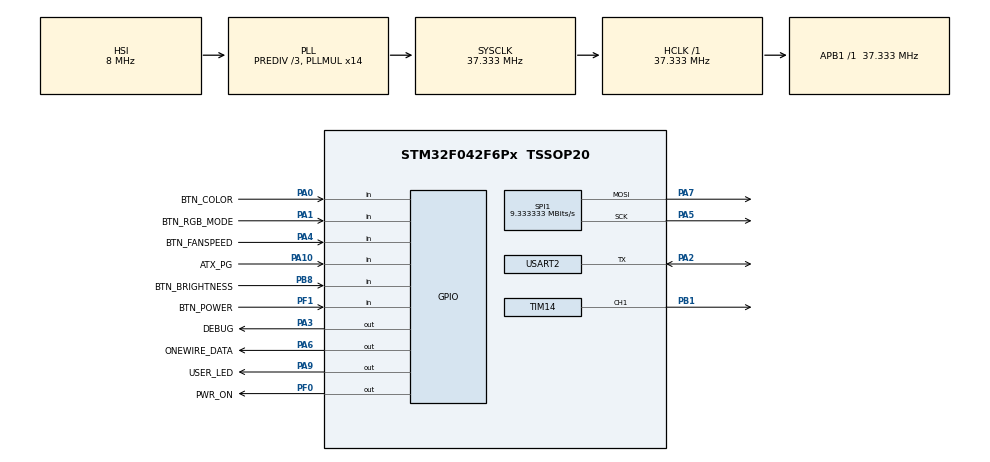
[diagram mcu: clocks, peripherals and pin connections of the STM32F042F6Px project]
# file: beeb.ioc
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IWDG.Prescaler=IWDG_PRESCALER_8
Mcu.Family=STM32F0
Mcu.Name=STM32F042F6Px
Mcu.Package=TSSOP20
NVIC.TIM17_IRQn=true\:0\:0\:false\:true\:true\:1\:true\:true
PA0.GPIO_Label=BTN_COLOR
PA0.GPIO_PuPd=GPIO_PULLUP
PA0.Signal=GPIO_Input
PA1.GPIO_Label=BTN_RGB_MODE
PA1.GPIO_PuPd=GPIO_PULLUP
PA1.Signal=GPIO_Input
PA10.GPIO_Label=ATX_PG
PA10.GPIO_PuPd=GPIO_PULLDOWN
PA10.Signal=GPIO_Input
PA13.Mode=Serial_Wire
PA13.Signal=SYS_SWDIO
PA14.Mode=Serial_Wire
PA14.Signal=SYS_SWCLK
PA2.Mode=Half_duplex(single_wire_mode)
PA2.Signal=USART2_TX
PA3.GPIO_Label=DEBUG
PA3.GPIO_ModeDefaultOutputPP=GPIO_MODE_OUTPUT_OD
PA3.GPIO_PuPd=GPIO_PULLUP
PA3.PinState=GPIO_PIN_SET
PA3.Signal=GPIO_Output
PA4.GPIO_Label=BTN_FANSPEED
PA4.GPIO_PuPd=GPIO_PULLUP
PA4.Signal=GPIO_Input
PA5.Mode=TX_Only_Simplex_Unidirect_Master
PA5.Signal=SPI1_SCK
PA6.GPIO_Label=ONEWIRE_DATA
PA6.GPIO_ModeDefaultOutputPP=GPIO_MODE_OUTPUT_OD
PA6.GPIO_PuPd=GPIO_PULLUP
PA6.PinState=GPIO_PIN_SET
PA6.Signal=GPIO_Output
PA7.Mode=TX_Only_Simplex_Unidirect_Master
PA7.Signal=SPI1_MOSI
PA9.GPIO_Label=USER_LED
PA9.Signal=GPIO_Output
PB1.GPIO_ModeDefaultPP=GPIO_MODE_AF_OD
PB1.GPIO_PuPd=GPIO_NOPULL
PB1.Signal=S_TIM14_CH1
PB8.GPIO_Label=BTN_BRIGHTNESS
PB8.GPIO_PuPd=GPIO_PULLDOWN
PB8.Signal=GPIO_Input
PF0-OSC_IN.GPIO_Label=PWR_ON
PF0-OSC_IN.GPIO_ModeDefaultOutputPP=GPIO_MODE_OUTPUT_OD
PF0-OSC_IN.PinState=GPIO_PIN_SET
PF0-OSC_IN.Signal=GPIO_Output
PF1-OSC_OUT.GPIO_Label=BTN_POWER
PF1-OSC_OUT.GPIO_PuPd=GPIO_PULLUP
PF1-OSC_OUT.Signal=GPIO_Input
ProjectManager.HeapSize=0x200
ProjectManager.StackSize=0x400
ProjectManager.TargetToolchain=MDK-ARM V5
RCC.AHBFreq_Value=37333333.33333333
RCC.APB1Freq_Value=37333333.33333333
RCC.APB1TimFreq_Value=37333333.33333333
RCC.HCLKFreq_Value=37333333.33333333
RCC.PLLDivider=RCC_PREDIV_DIV3
RCC.PLLMUL=RCC_PLL_MUL14
RCC.SYSCLKFreq_VALUE=37333333.33333333
RCC.SYSCLKSource=RCC_SYSCLKSOURCE_PLLCLK
SH.S_TIM14_CH1.0=TIM14_CH1,PWM Generation1 CH1
SPI1.BaudRatePrescaler=SPI_BAUDRATEPRESCALER_4
SPI1.CalculateBaudRate=9.333333 MBits/s
SPI1.DataSize=SPI_DATASIZE_8BIT
SPI1.Direction=SPI_DIRECTION_2LINES
SPI1.Mode=SPI_MODE_MASTER
SPI1.VirtualType=VM_MASTER
TIM14.Channel=TIM_CHANNEL_1
TIM14.Period=500
TIM14.Prescaler=2
TIM14.Pulse=250
TIM17.Period=16666
TIM17.Prescaler=37
TIM2.Period=4294967295
TIM2.Prescaler=36
USART2.BaudRate=115200
USART2.Mode=MODE_TX_RX
USART2.VirtualMode-Half_duplex(single_wire_mode)=VM_ASYNC
VP_IWDG_VS_IWDG.Mode=IWDG_Activate
VP_TIM14_VS_ClockSourceINT.Mode=Enable_Timer
VP_TIM17_VS_ClockSourceINT.Mode=Enable_Timer
VP_TIM2_VS_ClockSourceINT.Mode=Internal
board=custom

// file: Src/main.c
/**
  ******************************************************************************
  * @file           : main.c
  * @brief          : Main program body
  ******************************************************************************
  ** This notice applies to any and all portions of this file
  * that are not between comment pairs USER CODE BEGIN and
  * USER CODE END. Other portions of this file, whether
  * inserted by the user or by software development tools
  * are owned by their respective copyright owners.
  *
  * COPYRIGHT(c) 2022 STMicroelectronics
  *
  * Redistribution and use in source and binary forms, with or without modification,
  * are permitted provided that the following conditions are met:
  *   1. Redistributions of source code must retain the above copyright notice,
  *      this list of conditions and the following disclaimer.
  *   2. Redistributions in binary form must reproduce the above copyright notice,
  *      this list of conditions and the following disclaimer in the documentation
  *      and/or other materials provided with the distribution.
  *   3. Neither the name of STMicroelectronics nor the names of its contributors
  *      may be used to endorse or promote products derived from this software
  *      without specific prior written permission.
  *
  * THIS SOFTWARE IS PROVIDED BY THE COPYRIGHT HOLDERS AND CONTRIBUTORS "AS IS"
  * AND ANY EXPRESS OR IMPLIED WARRANTIES, INCLUDING, BUT NOT LIMITED TO, THE
  * IMPLIED WARRANTIES OF MERCHANTABILITY AND FITNESS FOR A PARTICULAR PURPOSE ARE
  * DISCLAIMED. IN NO EVENT SHALL THE COPYRIGHT HOLDER OR CONTRIBUTORS BE LIABLE
  * FOR ANY DIRECT, INDIRECT, INCIDENTAL, SPECIAL, EXEMPLARY, OR CONSEQUENTIAL
  * DAMAGES (INCLUDING, BUT NOT LIMITED TO, PROCUREMENT OF SUBSTITUTE GOODS OR
  * SERVICES; LOSS OF USE, DATA, OR PROFITS; OR BUSINESS INTERRUPTION) HOWEVER
  * CAUSED AND ON ANY THEORY OF LIABILITY, WHETHER IN CONTRACT, STRICT LIABILITY,
  * OR TORT (INCLUDING NEGLIGENCE OR OTHERWISE) ARISING IN ANY WAY OUT OF THE USE
  * OF THIS SOFTWARE, EVEN IF ADVISED OF THE POSSIBILITY OF SUCH DAMAGE.
  *
  ******************************************************************************
  */
#include "main.h"
#include "stm32f0xx_hal.h"

/* USER CODE BEGIN Includes */
#include "neopixel.h"
#include "buttons.h"
#include <string.h>
#include "ee.h"
#include "animations.h"
#include <math.h>
#include "delay_us.h"
#include "my_1wire.h"
#include "ds18b20.h"

/* USER CODE END Includes */

IWDG_HandleTypeDef hiwdg;

SPI_HandleTypeDef hspi1;

TIM_HandleTypeDef htim2;
TIM_HandleTypeDef htim14;
TIM_HandleTypeDef htim17;

UART_HandleTypeDef huart2;

/* USER CODE BEGIN PV */
/* Private variables ---------------------------------------------------------*/

#define EEPROM_BUF_SIZE 8
uint8_t eeprom_buf[EEPROM_BUF_SIZE];

const char boot_message[] = "ATX4VC\ndekuNukem 2022";
const uint8_t version_major = 0;
const uint8_t version_minor = 0;
const uint8_t version_patch = 1;
uint8_t is_psu_on;
volatile uint32_t frame_interrupt_count;
uint8_t red_buf[NEOPIXEL_COUNT];
uint8_t green_buf[NEOPIXEL_COUNT];
uint8_t blue_buf[NEOPIXEL_COUNT];

hsvcolor global_hsv;
rgbcolor my_rgb;

uint8_t is_fan_auto_mode;

/* USER CODE END PV */

void SystemClock_Config(void);
static void MX_GPIO_Init(void);
static void MX_USART2_UART_Init(void);
static void MX_SPI1_Init(void);
static void MX_TIM17_Init(void);
static void MX_TIM14_Init(void);
static void MX_IWDG_Init(void);
static void MX_TIM2_Init(void);
static void MX_NVIC_Init(void);

void HAL_TIM_MspPostInit(TIM_HandleTypeDef *htim);

/* USER CODE BEGIN PFP */
/* Private function prototypes -----------------------------------------------*/

/* USER CODE END PFP */

/* USER CODE BEGIN 0 */

int fputc(int ch, FILE *f)
{
  HAL_UART_Transmit(&huart2, (unsigned char *)&ch, 1, 100);
  return ch;
}

int16_t ds18b20_result;

#define LED_BRIGHTNESS_STEP_COUNT 9
#define BREATHING_FRAME_COUNT 300
#define SIN_LOOKUP_SIZE 360
#define STARTUP_FADEIN_DURATION_FRAMES 60

const uint8_t sin_lookup[SIN_LOOKUP_SIZE] = {127, 129, 131, 134, 136, 138, 140, 142, 145, 147, 149, 151, 153, 156, 158, 160, 162, 164, 166, 168, 170, 173, 175, 177, 179, 181, 183, 185, 187, 189, 190, 192, 194, 196, 198, 200, 202, 203, 205, 207, 209, 210, 212, 214, 215, 217, 218, 220, 221, 223, 224, 226, 227, 228, 230, 231, 232, 234, 235, 236, 237, 238, 239, 240, 241, 242, 243, 244, 245, 246, 246, 247, 248, 248, 249, 250, 250, 251, 251, 252, 252, 252, 253, 253, 253, 254, 254, 254, 254, 254, 254, 254, 254, 254, 254, 254, 253, 253, 253, 252, 252, 252, 251, 251, 250, 250, 249, 248, 248, 247, 246, 246, 245, 244, 243, 242, 241, 240, 239, 238, 237, 236, 235, 234, 232, 231, 230, 228, 227, 226, 224, 223, 221, 220, 218, 217, 215, 214, 212, 210, 209, 207, 205, 203, 202, 200, 198, 196, 194, 192, 190, 189, 187, 185, 183, 181, 179, 177, 175, 173, 170, 168, 166, 164, 162, 160, 158, 156, 153, 151, 149, 147, 145, 142, 140, 138, 136, 134, 131, 129, 127, 125, 123, 120, 118, 116, 114, 112, 109, 107, 105, 103, 101, 98, 96, 94, 92, 90, 88, 86, 84, 81, 79, 77, 75, 73, 71, 69, 67, 65, 63, 62, 60, 58, 56, 54, 52, 51, 49, 47, 45, 44, 42, 40, 39, 37, 36, 34, 33, 31, 30, 28, 27, 26, 24, 23, 22, 20, 19, 18, 17, 16, 15, 14, 13, 12, 11, 10, 9, 8, 8, 7, 6, 6, 5, 4, 4, 3, 3, 2, 2, 2, 1, 1, 1, 0, 0, 0, 0, 0, 0, 0, 0, 0, 0, 0, 1, 1, 1, 2, 2, 2, 3, 3, 4, 4, 5, 6, 6, 7, 8, 8, 9, 10, 11, 12, 13, 14, 15, 16, 17, 18, 19, 20, 22, 23, 24, 26, 27, 28, 30, 31, 33, 34, 36, 37, 39, 40, 42, 44, 45, 47, 49, 51, 52, 54, 56, 58, 60, 62, 63, 65, 67, 69, 71, 73, 75, 77, 79, 81, 84, 86, 88, 90, 92, 94, 96, 98, 101, 103, 105, 107, 109, 112, 114, 116, 118, 120, 123, 125};

void animation_update(void)
{
  uint8_t current_animation = eeprom_buf[BUTTON_RGB_MODE] % ANIMATION_TYPE_COUNT;
  static double current_startup_percent = 0;
  static hsvcolor temp_global_hsv;
  temp_global_hsv.h = global_hsv.h;
  temp_global_hsv.s = global_hsv.s;
  if(frame_interrupt_count > STARTUP_FADEIN_DURATION_FRAMES)
  {
    temp_global_hsv.v = global_hsv.v;
  }
  else if(frame_interrupt_count <= 5)
  {
    temp_global_hsv.v = 0;
  }
  else
  {
    current_startup_percent = (double)frame_interrupt_count / STARTUP_FADEIN_DURATION_FRAMES;
    temp_global_hsv.v = (double)global_hsv.v * current_startup_percent;
  }

  if(current_animation == ANIMATION_SOLID_COLOR)
  {
    my_rgb = hsv2rgb(temp_global_hsv);
    memset(red_buf, my_rgb.r, NEOPIXEL_COUNT);
    memset(green_buf, my_rgb.g, NEOPIXEL_COUNT);
    memset(blue_buf, my_rgb.b, NEOPIXEL_COUNT);
  }
  else if(current_animation == ANIMATION_FLOWING_RAINBOW)
  {
    for (int i = 0; i < NEOPIXEL_COUNT; ++i)
    {
      hsvcolor this_hsv;
      this_hsv.h = i*12 + frame_interrupt_count;
      this_hsv.s = 255;
      this_hsv.v = temp_global_hsv.v;
      my_rgb = hsv2rgb(this_hsv);
      red_buf[i] = my_rgb.r;
      green_buf[i] = my_rgb.g;
      blue_buf[i] = my_rgb.b;
    }
  }
  else if(current_animation == ANIMATION_ROLLING_CROSSFADE)
  {
    uint8_t current_brightness = eeprom_buf[BUTTON_BRIGHTNESS] % LED_BRIGHTNESS_STEP_COUNT;
    for (int i = 0; i < NEOPIXEL_COUNT; ++i)
    {
      hsvcolor this_hsv;
      this_hsv.h = frame_interrupt_count/2;
      this_hsv.s = 255;
      if(current_brightness == 0 || temp_global_hsv.v == 0)
      {
        this_hsv.v = 0;
      }
      else
      {
        this_hsv.v = sin_lookup[((frame_interrupt_count*3/2 + i*10)) % SIN_LOOKUP_SIZE];
        this_hsv.v = (uint32_t)this_hsv.v * current_brightness / 8;
        if(frame_interrupt_count <= STARTUP_FADEIN_DURATION_FRAMES)
          this_hsv.v = (double)this_hsv.v * current_startup_percent;
      }
      my_rgb = hsv2rgb(this_hsv);
      red_buf[i] = my_rgb.r;
      green_buf[i] = my_rgb.g;
      blue_buf[i] = my_rgb.b;
    }
  }
  else if(current_animation == ANIMATION_CROSSFADE)
  {
    for (int i = 0; i < NEOPIXEL_COUNT; ++i)
    {
      hsvcolor this_hsv;
      this_hsv.h = frame_interrupt_count*2/5;
      this_hsv.s = 255;
      this_hsv.v = temp_global_hsv.v;
      my_rgb = hsv2rgb(this_hsv);
      red_buf[i] = my_rgb.r;
      green_buf[i] = my_rgb.g;
      blue_buf[i] = my_rgb.b;
    }
  }
  else if(current_animation == ANIMATION_ROLLING_DIM)
  {
    uint8_t current_brightness = eeprom_buf[BUTTON_BRIGHTNESS] % LED_BRIGHTNESS_STEP_COUNT;
    for (int i = 0; i < NEOPIXEL_COUNT; ++i)
    {
      hsvcolor this_hsv;
      this_hsv.h = temp_global_hsv.h;
      this_hsv.s = temp_global_hsv.s;
      if(current_brightness == 0 || temp_global_hsv.v == 0)
        this_hsv.v = 0;
      else
      {
        this_hsv.v = sin_lookup[((frame_interrupt_count*3/2 + i*10)) % SIN_LOOKUP_SIZE];
        this_hsv.v = (uint32_t)this_hsv.v * current_brightness / 8;
        if(frame_interrupt_count <= STARTUP_FADEIN_DURATION_FRAMES)
          this_hsv.v = (double)this_hsv.v * current_startup_percent;
      }
      my_rgb = hsv2rgb(this_hsv);
      red_buf[i] = my_rgb.r;
      green_buf[i] = my_rgb.g;
      blue_buf[i] = my_rgb.b;
    }
  }
  __disable_irq();
  neopixel_show(red_buf, green_buf, blue_buf);
  __enable_irq();
}

uint8_t animation_flag;
uint8_t ds18b20_update_flag;
// happens every 16ms
void HAL_TIM_PeriodElapsedCallback(TIM_HandleTypeDef *htim)
{
  frame_interrupt_count++;
  animation_flag = 1;
  // scan buttons every 64ms
  if(frame_interrupt_count % 4 == 0)
    scan_buttons();
  if(is_fan_auto_mode && frame_interrupt_count % 46 == 0)
    ds18b20_update_flag = 1;
}

#define FAN_PWM_FULL_POWER 501
#define FAN_SPEED_MANUAL_STEP_COUNT 8
#define FAN_SPEED_TOTAL_STEP_COUNT 9

#define DEG_C_LOOKUP_SIZE 64
const uint16_t deg_c_to_fan_timer_lookup[DEG_C_LOOKUP_SIZE] = {100, 100, 100, 100, 100, 100, 100, 100, 100, 100, 100, 100, 100, 100, 100, 100, 100, 100, 100, 100, 100, 100, 100, 100, 100, 115, 131, 147, 163, 179, 195, 211, 227, 243, 259, 275, 291, 307, 323, 339, 355, 371, 387, 403, 419, 435, 451, 467, 483, 499, 501, 501, 501, 501, 501, 501, 501, 501, 501, 501, 501, 501, 501, 501};
const uint16_t fan_speend_lookup[FAN_SPEED_MANUAL_STEP_COUNT] = {0, 20*5, 40*5, 55*5, 65*5, 80*5, 90*5, FAN_PWM_FULL_POWER};

uint16_t deg_c_to_fan_timer(int16_t deg_c)
{
  if(deg_c < 0)
    return 20*5; // 20%
  if(deg_c >= DEG_C_LOOKUP_SIZE)
    return FAN_PWM_FULL_POWER; // 100%
  return deg_c_to_fan_timer_lookup[deg_c];
}

#define LED_COLOR_STEP_COUNT 27
void set_led_color(uint8_t button_status)
{
  uint8_t color_index = button_status % LED_COLOR_STEP_COUNT;
  if(color_index == LED_COLOR_STEP_COUNT-1) // color_index 26 = white
  {
    global_hsv.h = 0;
    global_hsv.s = 0;
  }
  else
  {
    global_hsv.h = color_index * 10; // 0, 10, 20, ..., 250
    global_hsv.s = 255;
  }
}

const uint8_t led_brightness_lookup[LED_BRIGHTNESS_STEP_COUNT] = {0, 1, 2, 3, 4, 5, 6, 7, 8};
void set_led_brightness(uint8_t button_status)
{
  global_hsv.v = led_brightness_lookup[button_status % LED_BRIGHTNESS_STEP_COUNT] * 28; // change to 28 for full scale
}

void user_led_blink(uint8_t count, uint8_t duration_ms, uint8_t include_argb)
{
  uint8_t blink_brightness = global_hsv.v/4;
  if(blink_brightness < 16)
    blink_brightness = 16;
  for (int i = 0; i < count; ++i)
  {
    if(include_argb)
    {
      memset(red_buf, blink_brightness, NEOPIXEL_COUNT);
      memset(green_buf, blink_brightness, NEOPIXEL_COUNT);
      memset(blue_buf, blink_brightness, NEOPIXEL_COUNT);
      __disable_irq();
      neopixel_show(red_buf, green_buf, blue_buf);
      __enable_irq();
    }
    HAL_GPIO_WritePin(USER_LED_GPIO_Port, USER_LED_Pin, GPIO_PIN_SET);
    HAL_IWDG_Refresh(&hiwdg);
    HAL_Delay(duration_ms);
    HAL_IWDG_Refresh(&hiwdg);
    if(include_argb)
    {
      memset(red_buf, blink_brightness / 8, NEOPIXEL_COUNT);
      memset(green_buf, blink_brightness / 8, NEOPIXEL_COUNT);
      memset(blue_buf, blink_brightness / 8, NEOPIXEL_COUNT);
      __disable_irq();
      neopixel_show(red_buf, green_buf, blue_buf);
      __enable_irq();
    }
    HAL_GPIO_WritePin(USER_LED_GPIO_Port, USER_LED_Pin, GPIO_PIN_RESET);
    HAL_IWDG_Refresh(&hiwdg);
    HAL_Delay(duration_ms);
    HAL_IWDG_Refresh(&hiwdg);
  }
}

void set_fanspeed(void)
{
  uint8_t fan_index = eeprom_buf[BUTTON_FANSPEED] % FAN_SPEED_TOTAL_STEP_COUNT;
  printf("fan %d", fan_index);
  if(fan_index < FAN_SPEED_MANUAL_STEP_COUNT)
  {
    printf(" M\n");
    is_fan_auto_mode = 0;
    htim14.Instance->CCR1 = fan_speend_lookup[fan_index];
  }
  else
  {
    printf(" A\n");
    is_fan_auto_mode = 1;
  }
}

void restore_button_settings(void)
{
  set_fanspeed();
  // default value
  global_hsv.h = 127;
  global_hsv.s = 255;
  global_hsv.v = 8;
  set_led_color(eeprom_buf[BUTTON_COLOR]);
  set_led_brightness(eeprom_buf[BUTTON_BRIGHTNESS]);
}

uint32_t last_button_press;
void handle_button_press(uint8_t button_index)
{
  // debounce 245ms
  if(micros() - last_button_press <= 245000)
    return;
  last_button_press = micros();

  eeprom_buf[button_index]++;
  if(button_index == BUTTON_FANSPEED)
  {
    set_fanspeed();
    uint8_t fan_index = eeprom_buf[BUTTON_FANSPEED] % FAN_SPEED_TOTAL_STEP_COUNT;
    if(fan_index == FAN_SPEED_MANUAL_STEP_COUNT - 1)
      user_led_blink(3, 66, 1); // fastest manual speed, fast blink 3 times
    else if(fan_index >= FAN_SPEED_MANUAL_STEP_COUNT)
      user_led_blink(5, 200, 1); // in auto mode, slow blink 5 times
    else
      user_led_blink(1, 66, 1); // button pressed, fast blink once
  }
  else if(button_index == BUTTON_COLOR)
  {
    set_led_color(eeprom_buf[button_index]);
    user_led_blink(1, 66, 0);
  }
  else if(button_index == BUTTON_BRIGHTNESS)
  {
    set_led_brightness(eeprom_buf[button_index]);
    user_led_blink(1, 66, 0);
    if(eeprom_buf[button_index] % LED_BRIGHTNESS_STEP_COUNT == LED_BRIGHTNESS_STEP_COUNT - 1)
      user_led_blink(2, 66, 1);
  }
  else if(button_index == BUTTON_POWER)
  {
    is_psu_on = (is_psu_on + 1) % 2;
    if(is_psu_on)
      frame_interrupt_count = 0;
    HAL_GPIO_WritePin(PWR_ON_GPIO_Port, PWR_ON_Pin, 1-is_psu_on);
    user_led_blink(1, 66, 0);
    return; // no need to save power button status
  }
  else if(button_index == BUTTON_RGB_MODE)
  {
    user_led_blink(1, 66, 0);
  }
  ee_format();
  ee_write(0, EEPROM_BUF_SIZE, eeprom_buf);
}

/* USER CODE END 0 */

int main(void)
{

  /* MCU Configuration----------------------------------------------------------*/

  /* Reset of all peripherals, Initializes the Flash interface and the Systick. */
  HAL_Init();

  /* Configure the system clock */
  SystemClock_Config();

  /* Initialize all configured peripherals */
  MX_GPIO_Init();
  MX_USART2_UART_Init();
  MX_SPI1_Init();
  MX_TIM17_Init();
  MX_TIM14_Init();
  MX_IWDG_Init();
  MX_TIM2_Init();

  /* Initialize interrupts */
  MX_NVIC_Init();
  /* USER CODE BEGIN 2 */
  delay_us_init(&htim2);

  /*
    check POWER_GOOD signal immediately after boot
    if high, STM32 most likely just had a reset by IWDG
    in which case, activate PS_ON to keep it going
  */
  if(HAL_GPIO_ReadPin(ATX_PG_GPIO_Port, ATX_PG_Pin) == GPIO_PIN_SET)
    is_psu_on = 1;
  HAL_GPIO_WritePin(PWR_ON_GPIO_Port, PWR_ON_Pin, 1-is_psu_on);

  /* USER CODE END 2 */

  /* Infinite loop */
  /* USER CODE BEGIN WHILE */
  printf("%s\nv%d.%d.%d\n", boot_message, version_major, version_minor, version_patch);

  if(HAL_GPIO_ReadPin(BTN_COLOR_GPIO_Port, BTN_COLOR_Pin) == GPIO_PIN_RESET)
    printf("ee_format: %d\n", ee_format());

  memset(eeprom_buf, 0, EEPROM_BUF_SIZE);
  ee_read(0, EEPROM_BUF_SIZE, eeprom_buf);
  eeprom_buf[BUTTON_POWER] = 0;
  restore_button_settings();

  HAL_TIM_Base_Start_IT(&htim17);

  HAL_TIM_Base_Start(&htim14);
  HAL_TIM_PWM_Init(&htim14);
  HAL_TIM_PWM_Start(&htim14, TIM_CHANNEL_1);
  ds18b20_start_conversion();

  while (1)
  {
    HAL_IWDG_Refresh(&hiwdg);
    for (int i = 0; i < BUTTON_COUNT; ++i)
    {
      if(is_pressed(i))
      {
        handle_button_press(i);
        service_press(i);
      }
      // for compatibility with a flip switch
      if(i == BUTTON_POWER && is_released_but_not_serviced(i))
      {
        service_press(i);
        if(micros() - button_status[i].last_press_ts > 750000 && is_psu_on)
        {
          is_psu_on = 0;
          HAL_GPIO_WritePin(PWR_ON_GPIO_Port, PWR_ON_Pin, GPIO_PIN_SET);
        }
      }
    }

  /* USER CODE END WHILE */

  /* USER CODE BEGIN 3 */

    if(animation_flag && is_psu_on)
    {
      HAL_GPIO_WritePin(GPIOA, DEBUG_Pin, GPIO_PIN_SET);
      animation_update();
      animation_flag = 0;
      HAL_GPIO_WritePin(GPIOA, DEBUG_Pin, GPIO_PIN_RESET);
    }

    // if atx4vc did not turn psu on, but PG is still high,
    // it is in hard power mode
    if(is_psu_on == 0 && HAL_GPIO_ReadPin(ATX_PG_GPIO_Port, ATX_PG_Pin))
    {
      HAL_Delay(250); // give PG some time to decay
      if(HAL_GPIO_ReadPin(ATX_PG_GPIO_Port, ATX_PG_Pin))
        is_psu_on = 1;
    }

    if(ds18b20_update_flag)
    {
      ds18b20_result = ds18b20_get_temp();
      printf("tp %d %d\n", ds18b20_result >> 4, deg_c_to_fan_timer(ds18b20_result >> 4));
      if(ds18b20_result == -1) // sensor unplugged, full power failsafe
        htim14.Instance->CCR1 = FAN_PWM_FULL_POWER;
      else
        htim14.Instance->CCR1 = deg_c_to_fan_timer(ds18b20_result >> 4);
      ds18b20_update_flag = 0;
      ds18b20_start_conversion();
    }
  }
  /* USER CODE END 3 */

}

void SystemClock_Config(void)
{

  RCC_OscInitTypeDef RCC_OscInitStruct;
  RCC_ClkInitTypeDef RCC_ClkInitStruct;

    /**Initializes the CPU, AHB and APB busses clocks
    */
  RCC_OscInitStruct.OscillatorType = RCC_OSCILLATORTYPE_HSI|RCC_OSCILLATORTYPE_LSI;
  RCC_OscInitStruct.HSIState = RCC_HSI_ON;
  RCC_OscInitStruct.HSICalibrationValue = 16;
  RCC_OscInitStruct.LSIState = RCC_LSI_ON;
  RCC_OscInitStruct.PLL.PLLState = RCC_PLL_ON;
  RCC_OscInitStruct.PLL.PLLSource = RCC_PLLSOURCE_HSI;
  RCC_OscInitStruct.PLL.PLLMUL = RCC_PLL_MUL14;
  RCC_OscInitStruct.PLL.PREDIV = RCC_PREDIV_DIV3;
  if (HAL_RCC_OscConfig(&RCC_OscInitStruct) != HAL_OK)
  {
    _Error_Handler(__FILE__, __LINE__);
  }

    /**Initializes the CPU, AHB and APB busses clocks
    */
  RCC_ClkInitStruct.ClockType = RCC_CLOCKTYPE_HCLK|RCC_CLOCKTYPE_SYSCLK
                              |RCC_CLOCKTYPE_PCLK1;
  RCC_ClkInitStruct.SYSCLKSource = RCC_SYSCLKSOURCE_PLLCLK;
  RCC_ClkInitStruct.AHBCLKDivider = RCC_SYSCLK_DIV1;
  RCC_ClkInitStruct.APB1CLKDivider = RCC_HCLK_DIV1;

  if (HAL_RCC_ClockConfig(&RCC_ClkInitStruct, FLASH_LATENCY_1) != HAL_OK)
  {
    _Error_Handler(__FILE__, __LINE__);
  }

    /**Configure the Systick interrupt time
    */
  HAL_SYSTICK_Config(HAL_RCC_GetHCLKFreq()/1000);

    /**Configure the Systick
    */
  HAL_SYSTICK_CLKSourceConfig(SYSTICK_CLKSOURCE_HCLK);

  /* SysTick_IRQn interrupt configuration */
  HAL_NVIC_SetPriority(SysTick_IRQn, 0, 0);
}

/**
  * @brief NVIC Configuration.
  * @retval None
  */
static void MX_NVIC_Init(void)
{
  /* TIM17_IRQn interrupt configuration */
  HAL_NVIC_SetPriority(TIM17_IRQn, 0, 0);
  HAL_NVIC_EnableIRQ(TIM17_IRQn);
}

/* IWDG init function */
static void MX_IWDG_Init(void)
{

  hiwdg.Instance = IWDG;
  hiwdg.Init.Prescaler = IWDG_PRESCALER_8;
  hiwdg.Init.Window = 4095;
  hiwdg.Init.Reload = 4095;
  if (HAL_IWDG_Init(&hiwdg) != HAL_OK)
  {
    _Error_Handler(__FILE__, __LINE__);
  }

}

/* SPI1 init function */
static void MX_SPI1_Init(void)
{

  /* SPI1 parameter configuration*/
  hspi1.Instance = SPI1;
  hspi1.Init.Mode = SPI_MODE_MASTER;
  hspi1.Init.Direction = SPI_DIRECTION_2LINES;
  hspi1.Init.DataSize = SPI_DATASIZE_8BIT;
  hspi1.Init.CLKPolarity = SPI_POLARITY_LOW;
  hspi1.Init.CLKPhase = SPI_PHASE_1EDGE;
  hspi1.Init.NSS = SPI_NSS_SOFT;
  hspi1.Init.BaudRatePrescaler = SPI_BAUDRATEPRESCALER_4;
  hspi1.Init.FirstBit = SPI_FIRSTBIT_MSB;
  hspi1.Init.TIMode = SPI_TIMODE_DISABLE;
  hspi1.Init.CRCCalculation = SPI_CRCCALCULATION_DISABLE;
  hspi1.Init.CRCPolynomial = 7;
  hspi1.Init.CRCLength = SPI_CRC_LENGTH_DATASIZE;
  hspi1.Init.NSSPMode = SPI_NSS_PULSE_ENABLE;
  if (HAL_SPI_Init(&hspi1) != HAL_OK)
  {
    _Error_Handler(__FILE__, __LINE__);
  }

}

/* TIM2 init function */
static void MX_TIM2_Init(void)
{

  TIM_ClockConfigTypeDef sClockSourceConfig;
  TIM_MasterConfigTypeDef sMasterConfig;

  htim2.Instance = TIM2;
  htim2.Init.Prescaler = 36;
  htim2.Init.CounterMode = TIM_COUNTERMODE_UP;
  htim2.Init.Period = 4294967295;
  htim2.Init.ClockDivision = TIM_CLOCKDIVISION_DIV1;
  htim2.Init.AutoReloadPreload = TIM_AUTORELOAD_PRELOAD_DISABLE;
  if (HAL_TIM_Base_Init(&htim2) != HAL_OK)
  {
    _Error_Handler(__FILE__, __LINE__);
  }

  sClockSourceConfig.ClockSource = TIM_CLOCKSOURCE_INTERNAL;
  if (HAL_TIM_ConfigClockSource(&htim2, &sClockSourceConfig) != HAL_OK)
  {
    _Error_Handler(__FILE__, __LINE__);
  }

  sMasterConfig.MasterOutputTrigger = TIM_TRGO_RESET;
  sMasterConfig.MasterSlaveMode = TIM_MASTERSLAVEMODE_DISABLE;
  if (HAL_TIMEx_MasterConfigSynchronization(&htim2, &sMasterConfig) != HAL_OK)
  {
    _Error_Handler(__FILE__, __LINE__);
  }

}

/* TIM14 init function */
static void MX_TIM14_Init(void)
{

  TIM_OC_InitTypeDef sConfigOC;

  htim14.Instance = TIM14;
  htim14.Init.Prescaler = 2;
  htim14.Init.CounterMode = TIM_COUNTERMODE_UP;
  htim14.Init.Period = 500;
  htim14.Init.ClockDivision = TIM_CLOCKDIVISION_DIV1;
  htim14.Init.AutoReloadPreload = TIM_AUTORELOAD_PRELOAD_DISABLE;
  if (HAL_TIM_Base_Init(&htim14) != HAL_OK)
  {
    _Error_Handler(__FILE__, __LINE__);
  }

  if (HAL_TIM_PWM_Init(&htim14) != HAL_OK)
  {
    _Error_Handler(__FILE__, __LINE__);
  }

  sConfigOC.OCMode = TIM_OCMODE_PWM1;
  sConfigOC.Pulse = 250;
  sConfigOC.OCPolarity = TIM_OCPOLARITY_HIGH;
  sConfigOC.OCFastMode = TIM_OCFAST_DISABLE;
  if (HAL_TIM_PWM_ConfigChannel(&htim14, &sConfigOC, TIM_CHANNEL_1) != HAL_OK)
  {
    _Error_Handler(__FILE__, __LINE__);
  }

  HAL_TIM_MspPostInit(&htim14);

}

/* TIM17 init function */
static void MX_TIM17_Init(void)
{

  htim17.Instance = TIM17;
  htim17.Init.Prescaler = 37;
  htim17.Init.CounterMode = TIM_COUNTERMODE_UP;
  htim17.Init.Period = 16666;
  htim17.Init.ClockDivision = TIM_CLOCKDIVISION_DIV1;
  htim17.Init.RepetitionCounter = 0;
  htim17.Init.AutoReloadPreload = TIM_AUTORELOAD_PRELOAD_DISABLE;
  if (HAL_TIM_Base_Init(&htim17) != HAL_OK)
  {
    _Error_Handler(__FILE__, __LINE__);
  }

}

/* USART2 init function */
static void MX_USART2_UART_Init(void)
{

  huart2.Instance = USART2;
  huart2.Init.BaudRate = 115200;
  huart2.Init.WordLength = UART_WORDLENGTH_8B;
  huart2.Init.StopBits = UART_STOPBITS_1;
  huart2.Init.Parity = UART_PARITY_NONE;
  huart2.Init.Mode = UART_MODE_TX_RX;
  huart2.Init.HwFlowCtl = UART_HWCONTROL_NONE;
  huart2.Init.OverSampling = UART_OVERSAMPLING_16;
  huart2.Init.OneBitSampling = UART_ONE_BIT_SAMPLE_DISABLE;
  huart2.AdvancedInit.AdvFeatureInit = UART_ADVFEATURE_NO_INIT;
  if (HAL_HalfDuplex_Init(&huart2) != HAL_OK)
  {
    _Error_Handler(__FILE__, __LINE__);
  }

}

/** Configure pins as
        * Analog
        * Input
        * Output
        * EVENT_OUT
        * EXTI
*/
static void MX_GPIO_Init(void)
{

  GPIO_InitTypeDef GPIO_InitStruct;

  /* GPIO Ports Clock Enable */
  __HAL_RCC_GPIOB_CLK_ENABLE();
  __HAL_RCC_GPIOF_CLK_ENABLE();
  __HAL_RCC_GPIOA_CLK_ENABLE();

  /*Configure GPIO pin Output Level */
  HAL_GPIO_WritePin(PWR_ON_GPIO_Port, PWR_ON_Pin, GPIO_PIN_SET);

  /*Configure GPIO pin Output Level */
  HAL_GPIO_WritePin(GPIOA, DEBUG_Pin|ONEWIRE_DATA_Pin, GPIO_PIN_SET);

  /*Configure GPIO pin Output Level */
  HAL_GPIO_WritePin(USER_LED_GPIO_Port, USER_LED_Pin, GPIO_PIN_RESET);

  /*Configure GPIO pin : BTN_BRIGHTNESS_Pin */
  GPIO_InitStruct.Pin = BTN_BRIGHTNESS_Pin;
  GPIO_InitStruct.Mode = GPIO_MODE_INPUT;
  GPIO_InitStruct.Pull = GPIO_PULLDOWN;
  HAL_GPIO_Init(BTN_BRIGHTNESS_GPIO_Port, &GPIO_InitStruct);

  /*Configure GPIO pin : PWR_ON_Pin */
  GPIO_InitStruct.Pin = PWR_ON_Pin;
  GPIO_InitStruct.Mode = GPIO_MODE_OUTPUT_OD;
  GPIO_InitStruct.Pull = GPIO_NOPULL;
  GPIO_InitStruct.Speed = GPIO_SPEED_FREQ_LOW;
  HAL_GPIO_Init(PWR_ON_GPIO_Port, &GPIO_InitStruct);

  /*Configure GPIO pin : BTN_POWER_Pin */
  GPIO_InitStruct.Pin = BTN_POWER_Pin;
  GPIO_InitStruct.Mode = GPIO_MODE_INPUT;
  GPIO_InitStruct.Pull = GPIO_PULLUP;
  HAL_GPIO_Init(BTN_POWER_GPIO_Port, &GPIO_InitStruct);

  /*Configure GPIO pins : BTN_COLOR_Pin BTN_RGB_MODE_Pin BTN_FANSPEED_Pin */
  GPIO_InitStruct.Pin = BTN_COLOR_Pin|BTN_RGB_MODE_Pin|BTN_FANSPEED_Pin;
  GPIO_InitStruct.Mode = GPIO_MODE_INPUT;
  GPIO_InitStruct.Pull = GPIO_PULLUP;
  HAL_GPIO_Init(GPIOA, &GPIO_InitStruct);

  /*Configure GPIO pins : DEBUG_Pin ONEWIRE_DATA_Pin */
  GPIO_InitStruct.Pin = DEBUG_Pin|ONEWIRE_DATA_Pin;
  GPIO_InitStruct.Mode = GPIO_MODE_OUTPUT_OD;
  GPIO_InitStruct.Pull = GPIO_PULLUP;
  GPIO_InitStruct.Speed = GPIO_SPEED_FREQ_LOW;
  HAL_GPIO_Init(GPIOA, &GPIO_InitStruct);

  /*Configure GPIO pin : USER_LED_Pin */
  GPIO_InitStruct.Pin = USER_LED_Pin;
  GPIO_InitStruct.Mode = GPIO_MODE_OUTPUT_PP;
  GPIO_InitStruct.Pull = GPIO_NOPULL;
  GPIO_InitStruct.Speed = GPIO_SPEED_FREQ_LOW;
  HAL_GPIO_Init(USER_LED_GPIO_Port, &GPIO_InitStruct);

  /*Configure GPIO pin : ATX_PG_Pin */
  GPIO_InitStruct.Pin = ATX_PG_Pin;
  GPIO_InitStruct.Mode = GPIO_MODE_INPUT;
  GPIO_InitStruct.Pull = GPIO_PULLDOWN;
  HAL_GPIO_Init(ATX_PG_GPIO_Port, &GPIO_InitStruct);

}

void _Error_Handler(char *file, int line)
{
  while(1)
  {
  }
}

/************************ (C) COPYRIGHT STMicroelectronics *****END OF FILE****/
